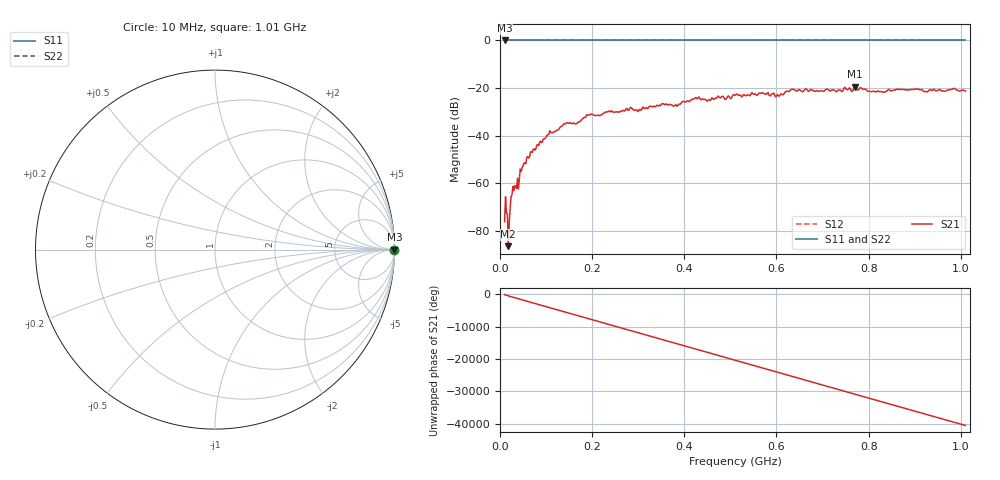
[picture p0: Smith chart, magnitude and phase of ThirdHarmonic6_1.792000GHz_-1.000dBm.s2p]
! 8/16/2025 9:40:57 PM
! C:\ANRITSUVNA\TEMP\TEMP.S2P
! CHANNEL.1
! TR.MEASUREMENT
! RAW.DATA
! RF.CORRECTION.OFF
! AVERAGING.OFF
! IF.BANDWIDTH: 5KHZ
! SWEEPTYPE:  FREQ.SWEEP(Linear)
! Reference Plane Port Info
! PORT:  PORT1  PORT2
! DISTANCE:  0  m  0  m
! TIME:  0  s  0  s
! PHASE.OFFSET:  0  deg.  0  deg.
! LOSS:  0  dB  0  dB
! REF.LOSS:  0  dB  0  dB
! REF.FREQ:  0  Hz  0  Hz
! Power Info
! POWER:  -20  dBm  -20  dBm
! EFF.POWER:  -20  dBm  -20  dBm
! SOURCE.ATTEN:  0  dB  0  dB
! TEST.ATTEN:  0  dB  0  dB
# GHZ S RI R 50.0
! FREQ.GHZ  S11RE  S11IM  S21RE  S21IM  S12RE  S12IM  S22RE  S22IM
!; PortSelection: Port_12
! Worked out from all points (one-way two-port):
!   501 points, 10 MHz to 1.01 GHz, reference 50 ohm
!   highest |S21| = -19.34 dB at 770 MHz (marker M1); lowest = -86.3 dB at 18 MHz (marker M2)
!   lowest |S11| = 0.0 dB at 10 MHz (marker M3)
!   |S11| at or under -10 dB: nowhere
!   |S22| runs from 0.0 to 0.0 dB; largest |S21 - S12| = 1.1
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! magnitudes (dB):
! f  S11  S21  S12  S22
! 10 MHz  0.0  -76.1  0.0  0.0
! 18 MHz  0.0  -86.3  0.0  0.0
! 22 MHz  0.0  -70.4  0.0  0.0
! 28 MHz  0.0  -61.3  0.0  0.0
! 38 MHz  0.0  -57.8  0.0  0.0
! 48 MHz  0.0  -53.4  0.0  0.0
! 70 MHz  0.0  -47.0  0.0  0.0
! 106 MHz  0.0  -39.4  0.0  0.0
! 142 MHz  0.0  -35.1  0.0  0.0
! 178 MHz  0.0  -33.1  0.0  0.0
! 192 MHz  0.0  -31.3  0.0  0.0
! 344 MHz  0.0  -27.5  0.0  0.0
! 382 MHz  0.0  -26.9  0.0  0.0
! 428 MHz  0.0  -24.5  0.0  0.0
! 452 MHz  0.0  -25.0  0.0  0.0
! 510 MHz  0.0  -23.0  0.0  0.0
! 602 MHz  0.0  -22.7  0.0  0.0
! 634 MHz  0.0  -20.4  0.0  0.0
! 678 MHz  0.0  -21.0  0.0  0.0
! 770 MHz  0.0  -19.3  0.0  0.0
! 844 MHz  0.0  -20.5  0.0  0.0
! 1.01 GHz  0.0  -21.3  0.0  0.0
